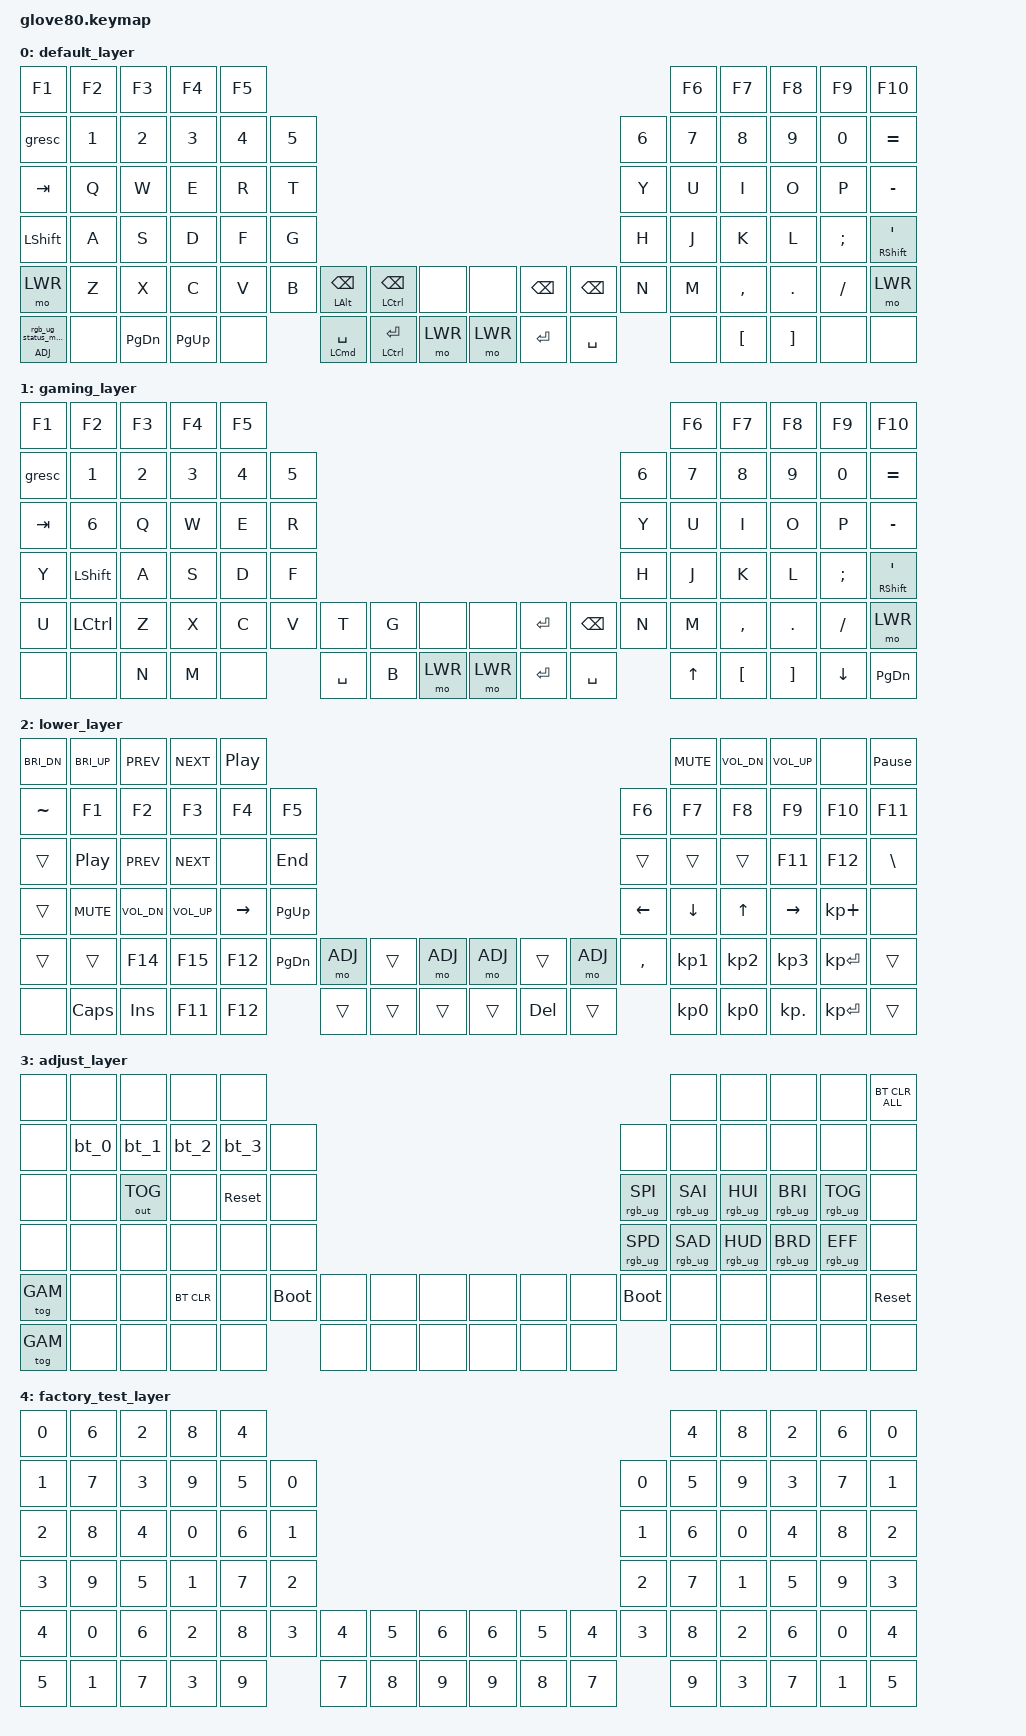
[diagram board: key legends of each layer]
/*
 * Copyright (c) 2020 The ZMK Contributors
 *
 * SPDX-License-Identifier: MIT
 */

#include <behaviors.dtsi>
#include <dt-bindings/zmk/keys.h>
#include <dt-bindings/zmk/bt.h>
#include <dt-bindings/zmk/ext_power.h>
#include <dt-bindings/zmk/outputs.h>
#include <dt-bindings/zmk/rgb.h>

#define HYPER LC(LS(LG(LALT)))

// layers
#define DEFAULT 0
// #define MAGIC 2 // magic layer is our adjust layer that changes LED effects and bt
#define GAM 1
#define LWR 2
#define ADJ 3
#define FACTORY_TEST 4 // Not used atm 

// &mt {
//     tapping-term-ms = <150>;
// };


/ {
    behaviors {
        // For the "layer" key, it'd nice to be able to use it as either a shift or a toggle.
        // Configure it as a tap dance, so the first tap (or hold) is a &mo and the second tap is a &to
        layer_td: tap_dance_0 {
            compatible = "zmk,behavior-tap-dance";
            label = "LAYER_TAP_DANCE";
            #binding-cells = <0>;
            tapping-term-ms = <150>;
            bindings = <&mo LWR>, <&to LWR>;
        };

        magic: magic_hold_tap {
            compatible = "zmk,behavior-hold-tap";
            label = "MAGIC_HOLD_TAP";
            #binding-cells = <2>;
            flavor = "tap-preferred";
            tapping-term-ms = <200>;
            bindings = <&mo>, <&rgb_ug_status_macro>;
        };
    };

    macros {
        rgb_ug_status_macro: rgb_ug_status_macro_0 {
            label = "RGB_UG_STATUS";
            compatible = "zmk,behavior-macro";
            #binding-cells = <0>;
            bindings
                = <&rgb_ug RGB_STATUS>;
        };

        bt_0: bt_profile_macro_0 {
            label = "BT_0";
            compatible = "zmk,behavior-macro";
            #binding-cells = <0>;
            bindings
                = <&out OUT_BLE>,
                  <&bt BT_SEL 0>;
        };

        bt_1: bt_profile_macro_1 {
            label = "BT_1";
            compatible = "zmk,behavior-macro";
            #binding-cells = <0>;
            bindings
                = <&out OUT_BLE>,
                  <&bt BT_SEL 1>;
        };

        bt_2: bt_profile_macro_2 {
            label = "BT_2";
            compatible = "zmk,behavior-macro";
            #binding-cells = <0>;
            bindings
                = <&out OUT_BLE>,
                  <&bt BT_SEL 2>;
        };

        bt_3: bt_profile_macro_3 {
            label = "BT_3";
            compatible = "zmk,behavior-macro";
            #binding-cells = <0>;
            bindings
                = <&out OUT_BLE>,
                  <&bt BT_SEL 3>;
        };
    };

    keymap {
        compatible = "zmk,keymap";

            // ---------------------------------------------------------------------------------------------------------------------------------
            // |  F1   |  F2 |  F3 |  F4  |  F5  |                                                               |  F6   |  F7   |  F8  |   F9  |  F10 |
            // |  =    |  1  |  2  |  3   |  4   |  5   |                                                 |  6   |   7   |   8   |  9   |   0   |   -  |
            // |  TAB  |  Q  |  W  |  E   |  R   |  T   |                                                 |  Y   |   U   |   I   |  O   |   P   |   \  |
            // |  ESC  |  A  |  S  |  D   |  F   |  G   |                                                 |  H   |   J   |   K   |  L   |   ;   |   '  |
            // |   `   |  Z  |  X  |  C   |  V   |  B   | LSHFT | LCTRL | LOWER | | LGUI  | RCTRL | RSHFT |  N   |   M   |   ,   |  .   |   /   | PGUP |
            // | MAGIC | HOME| END | LEFT | RIGHT|      | BSPC  | DEL   | LALT  | | RALT  | RET   | SPACE |      |  UP   | DOWN  |  [   |   ]   | PGDN |

        default_layer {
            bindings = <
       &kp F1         &kp F2   &kp F3    &kp F4     &kp F5                                                                                               &kp F6     &kp F7    &kp F8    &kp F9    &kp F10
       &gresc         &kp N1   &kp N2    &kp N3     &kp N4    &kp N5                                                                             &kp N6  &kp N7     &kp N8    &kp N9    &kp N0    &kp EQUAL
       &kp TAB        &kp Q    &kp W     &kp E      &kp R     &kp T                                                                              &kp Y   &kp U      &kp I     &kp O     &kp P     &kp MINUS
       &kp LSHFT      &kp A    &kp S     &kp D      &kp F     &kp G                                                                              &kp H   &kp J      &kp K     &kp L     &kp SEMI  &mt RSHFT APOS
       &mo LWR        &kp Z    &kp X     &kp C      &kp V     &kp B  &mt LALT BSPC    &mt LCTRL BSPC  &none      &none    &kp BSPC  &kp BSPC     &kp N   &kp M      &kp COMMA &kp DOT   &kp FSLH  &mo LWR
       &magic ADJ 0   &none    &kp PG_DN &kp PG_UP  &none            &mt LCMD SPACE   &mt LCTRL RET   &mo LWR    &mo LWR  &kp RET   &kp SPACE            &none      &kp LBKT  &kp RBKT  &none     &none
            >;
        };

        gaming_layer {
            bindings = <
       &kp F1         &kp F2          &kp F3          &kp F4           &kp F5                                                                             &kp F6     &kp F7    &kp F8    &kp F9    &kp F10
       &gresc         &kp N1          &kp N2          &kp N3           &kp N4      &kp N5                                                        &kp N6   &kp N7     &kp N8    &kp N9    &kp N0    &kp EQUAL
       &kp TAB        &kp N6          &kp Q           &kp W            &kp E       &kp R                                                         &kp Y    &kp U      &kp I     &kp O     &kp P     &kp MINUS
       &kp Y          &kp LSHFT       &kp A           &kp S            &kp D       &kp F                                                         &kp H    &kp J      &kp K     &kp L     &kp SEMI  &mt RSHFT APOS
       &kp U          &kp LCTRL       &kp Z           &kp X            &kp C       &kp V   &kp T     &kp G &none   &none    &kp RET   &kp BSPC   &kp N    &kp M      &kp COMMA &kp DOT   &kp FSLH  &mo LWR
       &none          &none           &kp N           &kp M            &none               &kp SPACE &kp B &mo LWR &mo LWR  &kp RET   &kp SPACE           &kp UP     &kp LBKT  &kp RBKT  &kp DOWN  &kp PG_DN
            >;
        };

        lower_layer {
            bindings = <
       &kp C_BRI_DN   &kp C_BRI_UP      &kp C_PREV      &kp C_NEXT    &kp C_PP                                                                                 &kp C_MUTE &kp C_VOL_DN  &kp C_VOL_UP &none        &kp PAUSE_BREAK
       &kp TILDE      &kp F1            &kp F2          &kp F3        &kp F4           &kp F5                                                      &kp F6      &kp F7     &kp F8        &kp F9       &kp F10      &kp F11
       &trans         &kp C_PP          &kp C_PREV      &kp C_NEXT    &none            &kp END                                                     &trans      &trans     &trans        &kp F11      &kp F12      &kp BSLH
       &trans         &kp C_MUTE        &kp C_VOL_DN    &kp C_VOL_UP  &kp RIGHT_ARROW  &kp PG_UP                                                   &kp LEFT    &kp DOWN   &kp UP        &kp RIGHT    &kp KP_PLUS  &none
       &trans         &trans            &kp F14         &kp F15       &kp F12          &kp PG_DN  &mo ADJ &trans  &mo ADJ &mo ADJ &trans  &mo ADJ  &kp COMMA   &kp KP_N1  &kp KP_N2     &kp KP_N3    &kp KP_ENTER &trans
       &none          &kp CAPS          &kp INS         &kp F11       &kp F12                     &trans  &trans  &trans  &trans  &kp DEL &trans               &kp KP_N0  &kp KP_N0     &kp KP_DOT   &kp KP_ENTER &trans
            >;
        };

        adjust_layer {
            bindings = <
       &none     &none &none        &none      &none                                                                                    &none            &none            &none            &none           &bt BT_CLR_ALL
       &none     &bt_0 &bt_1        &bt_2      &bt_3      &none                                                         &none           &none            &none            &none            &none           &none
       &none     &none &out OUT_TOG &none      &sys_reset &none                                                         &rgb_ug RGB_SPI &rgb_ug RGB_SAI  &rgb_ug RGB_HUI  &rgb_ug RGB_BRI  &rgb_ug RGB_TOG &none
       &none     &none &none        &none      &none      &none                                                         &rgb_ug RGB_SPD &rgb_ug RGB_SAD  &rgb_ug RGB_HUD  &rgb_ug RGB_BRD  &rgb_ug RGB_EFF &none
       &tog GAM  &none &none        &bt BT_CLR &none      &bootloader   &none   &none  &none   &none   &none   &none    &bootloader     &none            &none            &none            &none           &sys_reset
       &tog GAM  &none &none        &none      &none                    &none   &none  &none   &none   &none   &none                    &none            &none            &none            &none           &none
            >;
        };

        factory_test_layer {
            bindings = <
            &kp N0   &kp N6   &kp N2   &kp N8   &kp N4                                                                              &kp N4   &kp N8   &kp N2   &kp N6   &kp N0
            &kp N1   &kp N7   &kp N3   &kp N9   &kp N5   &kp N0                                                            &kp N0   &kp N5   &kp N9   &kp N3   &kp N7   &kp N1
            &kp N2   &kp N8   &kp N4   &kp N0   &kp N6   &kp N1                                                            &kp N1   &kp N6   &kp N0   &kp N4   &kp N8   &kp N2
            &kp N3   &kp N9   &kp N5   &kp N1   &kp N7   &kp N2                                                            &kp N2   &kp N7   &kp N1   &kp N5   &kp N9   &kp N3
            &kp N4   &kp N0   &kp N6   &kp N2   &kp N8   &kp N3   &kp N4   &kp N5   &kp N6      &kp N6   &kp N5   &kp N4   &kp N3   &kp N8   &kp N2   &kp N6   &kp N0   &kp N4
            &kp N5   &kp N1   &kp N7   &kp N3   &kp N9            &kp N7   &kp N8   &kp N9      &kp N9   &kp N8   &kp N7            &kp N9   &kp N3   &kp N7   &kp N1   &kp N5
            >;
        };
    };
};
